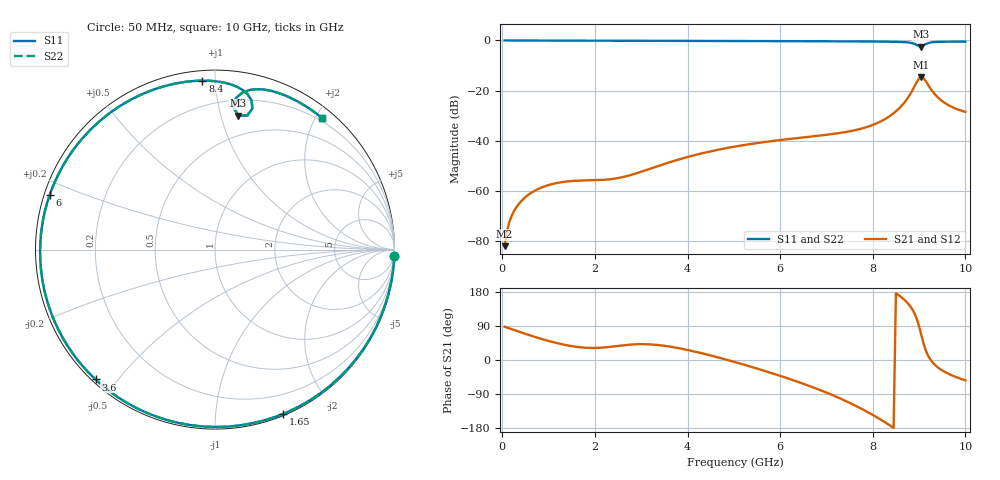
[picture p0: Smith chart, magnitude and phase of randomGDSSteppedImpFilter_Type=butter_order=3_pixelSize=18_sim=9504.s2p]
! freq	dB(S11)	phase(S11)	dB(S12)	phase(S12)
!  dB(S21)	phase(S21)	dB(S22)	phase(S22)
!S-par simulation data
#  GHz  S  DB  R 50
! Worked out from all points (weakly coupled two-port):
!   200 points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, 50 MHz to 10 GHz, reference 50 ohm
!   highest |S21| = -14.53 dB at 9.05 GHz (marker M1); lowest = -82.0 dB at 50 MHz (marker M2)
!   lowest |S11| = -2.4 dB at 9.05 GHz (marker M3), VSWR 7.25, Z = 16.2 + j56.7 ohm
!   |S11| at or under -10 dB: nowhere
!   |S22| runs from -2.4 to 0.0 dB; largest |S21 - S12| = 0
!   S11 on the Smith chart (normalised r, x): 50 MHz: 0, -53; 1.65 GHz: 0.02, -1.49; 3.6 GHz: 0.01, -0.44; 6 GHz: 0.02, +0.16; 8.4 GHz: 0.05, +0.93; 10 GHz: 0.15, +2.10
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0.05  -0.00 -2.2  -82.02 87.8  -82.02 87.8  -0.00 -2.2
0.2  -0.01 -8.6  -70.05 81.4  -70.05 81.4  -0.01 -8.6
0.5  -0.03 -21.3  -62.45 69.0  -62.45 69.0  -0.03 -21.3
1  -0.05 -42.1  -57.65 50.3  -57.65 50.3  -0.05 -42.1
1.65  -0.08 -67.6  -55.88 34.0  -55.88 34.0  -0.08 -67.6
1.75  -0.09 -71.3  -55.82 32.8  -55.82 32.8  -0.09 -71.3
2.5  -0.11 -97.9  -54.88 37.2  -54.88 37.2  -0.11 -97.9
3.4  -0.14 -126.6  -49.84 39.0  -49.84 39.0  -0.14 -126.6
3.6  -0.15 -132.6  -48.64 35.7  -48.64 35.7  -0.15 -132.6
4.3  -0.18 -152.7  -45.05 18.1  -45.05 18.1  -0.18 -152.7
5.05  -0.21 -173.1  -42.23 -6.4  -42.23 -6.4  -0.21 -173.1
6  -0.26 161.6  -39.71 -41.8  -39.71 -41.8  -0.26 161.6
6.7  -0.31 142.9  -38.26 -71.7  -38.26 -71.7  -0.31 142.9
7.75  -0.39 113.8  -35.17 -128.3  -35.17 -128.3  -0.39 113.8
8.35  -0.49 95.8  -30.37 -171.0  -30.37 -171.0  -0.49 95.9
8.4  -0.50 94.3  -29.72 -175.1  -29.72 -175.1  -0.50 94.3
8.7  -0.70 84.0  -24.33 156.7  -24.33 156.7  -0.70 84.0
8.9  -1.36 76.2  -18.37 123.5  -18.37 123.5  -1.35 76.3
9.05  -2.41 80.2  -14.53 64.9  -14.53 64.9  -2.39 80.2
9.25  -0.81 77.7  -19.31 0.0  -19.31 0.0  -0.81 77.7
9.5  -0.52 67.5  -24.20 -27.5  -24.20 -27.5  -0.52 67.4
10  -0.49 50.8  -28.47 -53.8  -28.47 -53.8  -0.49 50.8
